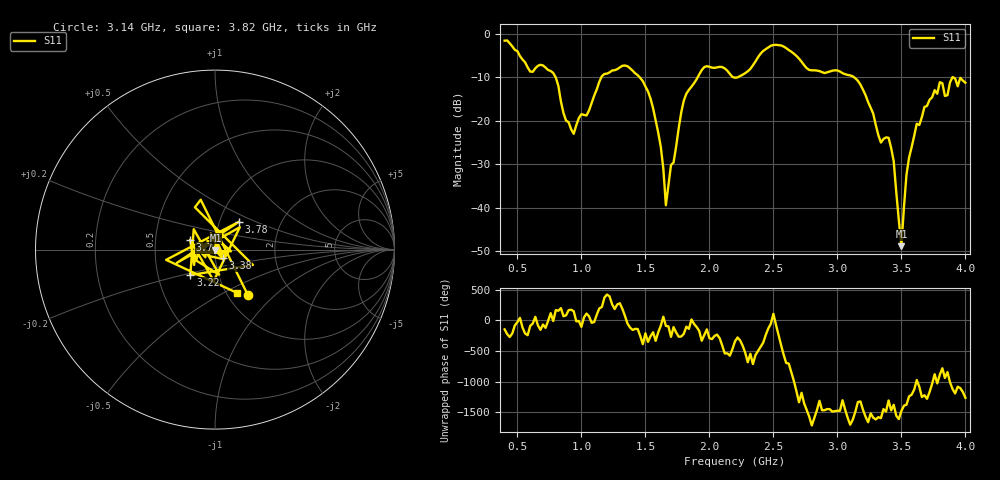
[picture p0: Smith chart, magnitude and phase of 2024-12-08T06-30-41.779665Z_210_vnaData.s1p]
!Created with skrf (http://scikit-rf.org).
# Hz S RI R 50.0
!freq ReS11 ImS11
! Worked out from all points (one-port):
!   181 points, 400 MHz to 4 GHz, reference 50 ohm
!   lowest |S11| = -48.8 dB at 3.5 GHz (marker M1), VSWR 1.01, Z = 50.3 - j0.237 ohm
!   |S11| at or under -10 dB: 799.3 MHz to 1.156 GHz (356.4 MHz wide, 36.5 % of centre); 1.455 GHz to 1.908 GHz (452.5 MHz wide, 26.9 % of centre); 3.131 GHz to 3.899 GHz (767.8 MHz wide, 21.8 % of centre) (the widest 3 of 5)
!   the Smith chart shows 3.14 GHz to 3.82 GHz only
!   S11 on the Smith chart (normalised r, x): 3.14 GHz: 1.24, -0.68; 3.22 GHz: 0.73, -0.22; 3.38 GHz: 1.08, -0.11; 3.7 GHz: 0.75, +0.08; 3.78 GHz: 1.24, +0.40; 3.82 GHz: 1.12, -0.58
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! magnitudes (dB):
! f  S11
! 400 MHz  -1.6
! 600 MHz  -8.7
! 780 MHz  -9.0
! 860 MHz  -18.2
! 940 MHz  -23.0
! 1.16 GHz  -9.7
! 1.3 GHz  -7.7
! 1.54 GHz  -14.9
! 1.62 GHz  -25.9
! 1.66 GHz  -39.4
! 1.76 GHz  -21.7
! 1.82 GHz  -13.7
! 1.96 GHz  -7.6
! 2.2 GHz  -10.1
! 2.48 GHz  -2.7
! 2.66 GHz  -4.6
! 3.1 GHz  -9.5
! 3.14 GHz  -10.2
! 3.22 GHz  -14.1
! 3.34 GHz  -25.0
! 3.38 GHz  -23.8
! 3.44 GHz  -29.3
! 3.5 GHz  -48.8
! 3.56 GHz  -28.4
! 3.7 GHz  -16.6
! 3.78 GHz  -13.8
! 3.82 GHz  -11.3
! 4 GHz  -11.2
